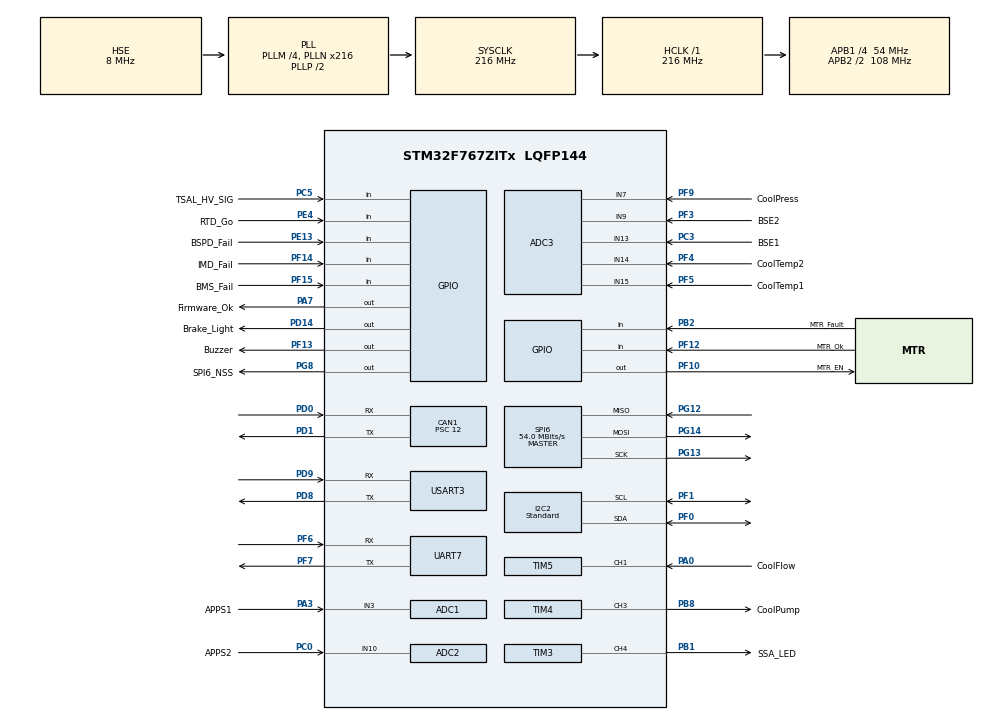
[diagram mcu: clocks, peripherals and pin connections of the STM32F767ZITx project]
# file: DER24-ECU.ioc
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ADC1.Channel-0\#ChannelRegularConversion=ADC_CHANNEL_3
ADC1.ClockPrescaler=ADC_CLOCK_SYNC_PCLK_DIV6
ADC1.NbrOfConversionFlag=1
ADC1.Rank-0\#ChannelRegularConversion=1
ADC1.SamplingTime-0\#ChannelRegularConversion=ADC_SAMPLETIME_3CYCLES
ADC1.master=1
ADC2.Channel-1\#ChannelRegularConversion=ADC_CHANNEL_10
ADC2.ClockPrescaler=ADC_CLOCK_SYNC_PCLK_DIV6
ADC2.NbrOfConversionFlag=1
ADC2.Rank-1\#ChannelRegularConversion=1
ADC2.SamplingTime-1\#ChannelRegularConversion=ADC_SAMPLETIME_3CYCLES
ADC3.Channel-0\#ChannelRegularConversion=ADC_CHANNEL_13
ADC3.ClockPrescaler=ADC_CLOCK_SYNC_PCLK_DIV6
ADC3.NbrOfConversionFlag=1
ADC3.Rank-0\#ChannelRegularConversion=1
ADC3.SamplingTime-0\#ChannelRegularConversion=ADC_SAMPLETIME_3CYCLES
CAN1.ABOM=ENABLE
CAN1.AWUM=ENABLE
CAN1.BS1=CAN_BS1_15TQ
CAN1.BS2=CAN_BS2_2TQ
CAN1.CalculateBaudRate=250000
CAN1.CalculateTimeBit=4000
CAN1.CalculateTimeQuantum=222.22222222222223
CAN1.NART=DISABLE
CAN1.Prescaler=12
FREERTOS.Tasks01=dev_task,24,128,dev_task_fn,As weak,NULL,Dynamic,NULL,NULL
FREERTOS.configENABLE_FPU=1
FREERTOS.configUSE_NEWLIB_REENTRANT=1
I2C2.Analog_Filter=I2C_ANALOGFILTER_DISABLE
I2C2.I2C_Fall_Time=0
I2C2.I2C_Rise_Time=0
I2C2.I2C_Speed_Mode=I2C_Standard
I2C2.Timing=0x00303D5D
Mcu.Family=STM32F7
Mcu.Name=STM32F767ZITx
Mcu.Package=LQFP144
NVIC.CAN1_RX0_IRQn=true\:5\:0\:false\:false\:true\:true\:true\:true\:true
NVIC.PriorityGroup=NVIC_PRIORITYGROUP_4
NVIC.TIM5_IRQn=true\:5\:0\:false\:false\:true\:true\:true\:true\:true
NVIC.TIM7_IRQn=true\:15\:0\:false\:false\:true\:false\:false\:true\:true
NVIC.TimeBase=TIM7_IRQn
NVIC.TimeBaseIP=TIM7
NVIC.UART7_IRQn=true\:5\:0\:false\:false\:true\:true\:true\:true\:true
NVIC.USART3_IRQn=true\:15\:0\:true\:false\:true\:true\:true\:true\:true
PA0/WKUP.GPIO_Label=CoolFlow
PA0/WKUP.Signal=S_TIM5_CH1
PA13.GPIO_Label=TMS
PA13.Mode=Serial_Wire
PA13.Signal=SYS_JTMS-SWDIO
PA14.GPIO_Label=TCK
PA14.Mode=Serial_Wire
PA14.Signal=SYS_JTCK-SWCLK
PA3.GPIO_Label=APPS1
PA3.Signal=ADCx_IN3
PA7.GPIO_Label=Firmware_Ok
PA7.Signal=GPIO_Output
PB1.GPIO_Label=SSA_LED
PB1.Signal=S_TIM3_CH4
PB2.GPIO_Label=MTR_Fault
PB2.Signal=GPIO_Input
PB3.GPIO_Label=SWO
PB3.Signal=SYS_JTDO-SWO
PB8.GPIO_Label=CoolPump
PB8.Signal=S_TIM4_CH3
PC0.GPIO_Label=APPS2
PC0.Signal=ADCx_IN10
PC14/OSC32_IN.Mode=LSE-External-Oscillator
PC14/OSC32_IN.Signal=RCC_OSC32_IN
PC15/OSC32_OUT.Mode=LSE-External-Oscillator
PC15/OSC32_OUT.Signal=RCC_OSC32_OUT
PC3.GPIO_Label=BSE1
PC3.Signal=ADCx_IN13
PC5.GPIO_Label=TSAL_HV_SIG
PC5.Signal=GPIO_Input
PD0.Mode=CAN_Activate
PD0.Signal=CAN1_RX
PD1.Mode=CAN_Activate
PD1.Signal=CAN1_TX
PD14.GPIO_Label=Brake_Light
PD14.Signal=GPIO_Output
PD8.Mode=Asynchronous
PD8.Signal=USART3_TX
PD9.Mode=Asynchronous
PD9.Signal=USART3_RX
PE13.GPIO_Label=BSPD_Fail
PE13.Signal=GPIO_Input
PE4.GPIO_Label=RTD_Go
PE4.GPIO_PuPd=GPIO_PULLDOWN
PE4.Signal=GPIO_Input
PF0.Mode=I2C
PF0.Signal=I2C2_SDA
PF1.Mode=I2C
PF1.Signal=I2C2_SCL
PF10.GPIO_Label=MTR_EN
PF10.Signal=GPIO_Output
PF12.GPIO_Label=MTR_Ok
PF12.Signal=GPIO_Input
PF13.GPIO_Label=Buzzer
PF13.Signal=GPIO_Output
PF14.GPIO_Label=IMD_Fail
PF14.Signal=GPIO_Input
PF15.GPIO_Label=BMS_Fail
PF15.Signal=GPIO_Input
PF3.GPIO_Label=BSE2
PF3.Mode=IN9
PF3.Signal=ADC3_IN9
PF4.GPIO_Label=CoolTemp2
PF4.Mode=IN14
PF4.Signal=ADC3_IN14
PF5.GPIO_Label=CoolTemp1
PF5.Mode=IN15
PF5.Signal=ADC3_IN15
PF6.Mode=Asynchronous
PF6.Signal=UART7_RX
PF7.Mode=Asynchronous
PF7.Signal=UART7_TX
PF9.GPIO_Label=CoolPress
PF9.Mode=IN7
PF9.Signal=ADC3_IN7
PG12.Mode=Full_Duplex_Master
PG12.Signal=SPI6_MISO
PG13.Mode=Full_Duplex_Master
PG13.Signal=SPI6_SCK
PG14.Mode=Full_Duplex_Master
PG14.Signal=SPI6_MOSI
PG8.GPIO_Label=SPI6_NSS
PG8.Signal=GPIO_Output
PH0/OSC_IN.Mode=HSE-External-Oscillator
PH0/OSC_IN.Signal=RCC_OSC_IN
PH1/OSC_OUT.Mode=HSE-External-Oscillator
PH1/OSC_OUT.Signal=RCC_OSC_OUT
ProjectManager.HeapSize=0x200
ProjectManager.StackSize=0x400
ProjectManager.TargetToolchain=STM32CubeIDE
RCC.AHBFreq_Value=216000000
RCC.APB1CLKDivider=RCC_HCLK_DIV4
RCC.APB1Freq_Value=54000000
RCC.APB1TimFreq_Value=108000000
RCC.APB2CLKDivider=RCC_HCLK_DIV2
RCC.APB2Freq_Value=108000000
RCC.APB2TimFreq_Value=216000000
RCC.CortexFreq_Value=216000000
RCC.HCLKFreq_Value=216000000
RCC.HSE_VALUE=8000000
RCC.HSI_VALUE=16000000
RCC.I2C2CLockSelection=RCC_I2C2CLKSOURCE_HSI
RCC.LSE_Drive_Capability=RCC_LSEDRIVE_LOW
RCC.PLLM=4
RCC.PLLN=216
RCC.PLLSourceVirtual=RCC_PLLSOURCE_HSE
RCC.RTCClockSelection=RCC_RTCCLKSOURCE_LSE
RCC.SYSCLKFreq_VALUE=216000000
RCC.SYSCLKSource=RCC_SYSCLKSOURCE_PLLCLK
RCC.USBFreq_Value=216000000
RCC.VCOOutputFreq_Value=432000000
RTC.StoreOperation=RTC_STOREOPERATION_SET
SH.ADCx_IN10.0=ADC2_IN10,IN10
SH.ADCx_IN13.0=ADC3_IN13,IN13
SH.ADCx_IN3.0=ADC1_IN3,IN3
SH.S_TIM3_CH4.0=TIM3_CH4,PWM Generation4 CH4
SH.S_TIM4_CH3.0=TIM4_CH3,PWM Generation3 CH3
SH.S_TIM5_CH1.0=TIM5_CH1,PWM_Input_1
SPI6.BaudRatePrescaler=SPI_BAUDRATEPRESCALER_2
SPI6.CalculateBaudRate=54.0 MBits/s
SPI6.Direction=SPI_DIRECTION_2LINES
SPI6.Mode=SPI_MODE_MASTER
SPI6.VirtualType=VM_MASTER
TIM3.AutoReloadPreload=TIM_AUTORELOAD_PRELOAD_ENABLE
TIM3.Channel-PWM\ Generation4\ CH4=TIM_CHANNEL_4
TIM4.AutoReloadPreload=TIM_AUTORELOAD_PRELOAD_ENABLE
TIM4.Channel-PWM\ Generation3\ CH3=TIM_CHANNEL_3
TIM5.AutoReloadPreload=TIM_AUTORELOAD_PRELOAD_DISABLE
USART3.SwapParam=ADVFEATURE_SWAP_DISABLE
USART3.VirtualMode-Asynchronous=VM_ASYNC
VP_FREERTOS_VS_CMSIS_V2.Mode=CMSIS_V2
VP_RTC_VS_RTC_Activate.Mode=RTC_Enabled
VP_RTC_VS_RTC_Calendar.Mode=RTC_Calendar
VP_SYS_VS_tim7.Mode=TIM7
VP_TIM3_VS_ClockSourceINT.Mode=Internal
VP_TIM4_VS_ClockSourceINT.Mode=Internal
VP_TIM5_VS_ClockSourceINT.Mode=Internal
board=custom

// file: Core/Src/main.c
/* USER CODE BEGIN Header */
/**
  ******************************************************************************
  * @file           : main.c
  * @brief          : Main program body
  ******************************************************************************
  * @attention
  *
  * Copyright (c) 2024 STMicroelectronics.
  * All rights reserved.
  *
  * This software is licensed under terms that can be found in the LICENSE file
  * in the root directory of this software component.
  * If no LICENSE file comes with this software, it is provided AS-IS.
  *
  ******************************************************************************
  */
/* USER CODE END Header */
#include "main.h"
#include "cmsis_os.h"

/* USER CODE BEGIN Includes */
#include "app.h"
/* USER CODE END Includes */

ADC_HandleTypeDef hadc1;
ADC_HandleTypeDef hadc2;
ADC_HandleTypeDef hadc3;

CAN_HandleTypeDef hcan1;

I2C_HandleTypeDef hi2c2;

RTC_HandleTypeDef hrtc;

SPI_HandleTypeDef hspi6;

TIM_HandleTypeDef htim3;
TIM_HandleTypeDef htim4;
TIM_HandleTypeDef htim5;

UART_HandleTypeDef huart7;
UART_HandleTypeDef huart3;

/* Definitions for dev_task */
osThreadId_t dev_taskHandle;
const osThreadAttr_t dev_task_attributes = {
  .name = "dev_task",
  .stack_size = 128 * 4,
  .priority = (osPriority_t) osPriorityNormal,
};

void SystemClock_Config(void);
void dev_task_fn(void *argument);

int main(void)
{

  /* MCU Configuration--------------------------------------------------------*/

  /* Reset of all peripherals, Initializes the Flash interface and the Systick. */
  HAL_Init();

  /* Configure the system clock */
  SystemClock_Config();

  /* Initialize all configured peripherals */
  MX_GPIO_Init();
  MX_CAN1_Init();
  MX_ADC1_Init();
  MX_ADC3_Init();
  MX_SPI6_Init();
  MX_TIM5_Init();
  MX_USART3_UART_Init();
  MX_UART7_Init();
  MX_RTC_Init();
  MX_ADC2_Init();
  MX_I2C2_Init();
  MX_TIM3_Init();
  MX_TIM4_Init();

  /* Init scheduler */
  osKernelInitialize();

  /* USER CODE BEGIN RTOS_QUEUES */
  /* add queues, ... */
#if 0
  /* USER CODE END RTOS_QUEUES */

  /* Create the thread(s) */
  /* creation of dev_task */
  dev_taskHandle = osThreadNew(dev_task_fn, NULL, &dev_task_attributes);

  /* USER CODE BEGIN RTOS_THREADS */
  /* add threads, ... */
#endif
  app_create();
  /* USER CODE END RTOS_THREADS */

  /* Start scheduler */
  osKernelStart();

  /* We should never get here as control is now taken by the scheduler */

  /* Infinite loop */
  while (1)
  {

  }
}

void SystemClock_Config(void)
{
  RCC_OscInitTypeDef RCC_OscInitStruct = {0};
  RCC_ClkInitTypeDef RCC_ClkInitStruct = {0};

  /** Configure LSE Drive Capability
  */
  HAL_PWR_EnableBkUpAccess();
  __HAL_RCC_LSEDRIVE_CONFIG(RCC_LSEDRIVE_LOW);

  /** Configure the main internal regulator output voltage
  */
  __HAL_RCC_PWR_CLK_ENABLE();
  __HAL_PWR_VOLTAGESCALING_CONFIG(PWR_REGULATOR_VOLTAGE_SCALE1);

  /** Initializes the RCC Oscillators according to the specified parameters
  * in the RCC_OscInitTypeDef structure.
  */
  RCC_OscInitStruct.OscillatorType = RCC_OSCILLATORTYPE_HSI|RCC_OSCILLATORTYPE_HSE
                              |RCC_OSCILLATORTYPE_LSE;
  RCC_OscInitStruct.HSEState = RCC_HSE_ON;
  RCC_OscInitStruct.LSEState = RCC_LSE_ON;
  RCC_OscInitStruct.HSIState = RCC_HSI_ON;
  RCC_OscInitStruct.HSICalibrationValue = RCC_HSICALIBRATION_DEFAULT;
  RCC_OscInitStruct.PLL.PLLState = RCC_PLL_ON;
  RCC_OscInitStruct.PLL.PLLSource = RCC_PLLSOURCE_HSE;
  RCC_OscInitStruct.PLL.PLLM = 4;
  RCC_OscInitStruct.PLL.PLLN = 216;
  RCC_OscInitStruct.PLL.PLLP = RCC_PLLP_DIV2;
  RCC_OscInitStruct.PLL.PLLQ = 2;
  RCC_OscInitStruct.PLL.PLLR = 2;
  if (HAL_RCC_OscConfig(&RCC_OscInitStruct) != HAL_OK)
  {
    Error_Handler();
  }

  /** Activate the Over-Drive mode
  */
  if (HAL_PWREx_EnableOverDrive() != HAL_OK)
  {
    Error_Handler();
  }

  /** Initializes the CPU, AHB and APB buses clocks
  */
  RCC_ClkInitStruct.ClockType = RCC_CLOCKTYPE_HCLK|RCC_CLOCKTYPE_SYSCLK
                              |RCC_CLOCKTYPE_PCLK1|RCC_CLOCKTYPE_PCLK2;
  RCC_ClkInitStruct.SYSCLKSource = RCC_SYSCLKSOURCE_PLLCLK;
  RCC_ClkInitStruct.AHBCLKDivider = RCC_SYSCLK_DIV1;
  RCC_ClkInitStruct.APB1CLKDivider = RCC_HCLK_DIV4;
  RCC_ClkInitStruct.APB2CLKDivider = RCC_HCLK_DIV2;

  if (HAL_RCC_ClockConfig(&RCC_ClkInitStruct, FLASH_LATENCY_7) != HAL_OK)
  {
    Error_Handler();
  }
}

void MX_ADC1_Init(void)
{

  ADC_ChannelConfTypeDef sConfig = {0};

  /** Configure the global features of the ADC (Clock, Resolution, Data Alignment and number of conversion)
  */
  hadc1.Instance = ADC1;
  hadc1.Init.ClockPrescaler = ADC_CLOCK_SYNC_PCLK_DIV6;
  hadc1.Init.Resolution = ADC_RESOLUTION_12B;
  hadc1.Init.ScanConvMode = ADC_SCAN_DISABLE;
  hadc1.Init.ContinuousConvMode = DISABLE;
  hadc1.Init.DiscontinuousConvMode = DISABLE;
  hadc1.Init.ExternalTrigConvEdge = ADC_EXTERNALTRIGCONVEDGE_NONE;
  hadc1.Init.ExternalTrigConv = ADC_SOFTWARE_START;
  hadc1.Init.DataAlign = ADC_DATAALIGN_RIGHT;
  hadc1.Init.NbrOfConversion = 1;
  hadc1.Init.DMAContinuousRequests = DISABLE;
  hadc1.Init.EOCSelection = ADC_EOC_SINGLE_CONV;
  if (HAL_ADC_Init(&hadc1) != HAL_OK)
  {
    Error_Handler();
  }

  /** Configure for the selected ADC regular channel its corresponding rank in the sequencer and its sample time.
  */
  sConfig.Channel = ADC_CHANNEL_3;
  sConfig.Rank = ADC_REGULAR_RANK_1;
  sConfig.SamplingTime = ADC_SAMPLETIME_3CYCLES;
  if (HAL_ADC_ConfigChannel(&hadc1, &sConfig) != HAL_OK)
  {
    Error_Handler();
  }

}

void MX_ADC2_Init(void)
{

  ADC_ChannelConfTypeDef sConfig = {0};

  /** Configure the global features of the ADC (Clock, Resolution, Data Alignment and number of conversion)
  */
  hadc2.Instance = ADC2;
  hadc2.Init.ClockPrescaler = ADC_CLOCK_SYNC_PCLK_DIV6;
  hadc2.Init.Resolution = ADC_RESOLUTION_12B;
  hadc2.Init.ScanConvMode = ADC_SCAN_DISABLE;
  hadc2.Init.ContinuousConvMode = DISABLE;
  hadc2.Init.DiscontinuousConvMode = DISABLE;
  hadc2.Init.ExternalTrigConvEdge = ADC_EXTERNALTRIGCONVEDGE_NONE;
  hadc2.Init.ExternalTrigConv = ADC_SOFTWARE_START;
  hadc2.Init.DataAlign = ADC_DATAALIGN_RIGHT;
  hadc2.Init.NbrOfConversion = 1;
  hadc2.Init.DMAContinuousRequests = DISABLE;
  hadc2.Init.EOCSelection = ADC_EOC_SINGLE_CONV;
  if (HAL_ADC_Init(&hadc2) != HAL_OK)
  {
    Error_Handler();
  }

  /** Configure for the selected ADC regular channel its corresponding rank in the sequencer and its sample time.
  */
  sConfig.Channel = ADC_CHANNEL_10;
  sConfig.Rank = ADC_REGULAR_RANK_1;
  sConfig.SamplingTime = ADC_SAMPLETIME_3CYCLES;
  if (HAL_ADC_ConfigChannel(&hadc2, &sConfig) != HAL_OK)
  {
    Error_Handler();
  }

}

void MX_ADC3_Init(void)
{

  ADC_ChannelConfTypeDef sConfig = {0};

  /** Configure the global features of the ADC (Clock, Resolution, Data Alignment and number of conversion)
  */
  hadc3.Instance = ADC3;
  hadc3.Init.ClockPrescaler = ADC_CLOCK_SYNC_PCLK_DIV6;
  hadc3.Init.Resolution = ADC_RESOLUTION_12B;
  hadc3.Init.ScanConvMode = ADC_SCAN_DISABLE;
  hadc3.Init.ContinuousConvMode = DISABLE;
  hadc3.Init.DiscontinuousConvMode = DISABLE;
  hadc3.Init.ExternalTrigConvEdge = ADC_EXTERNALTRIGCONVEDGE_NONE;
  hadc3.Init.ExternalTrigConv = ADC_SOFTWARE_START;
  hadc3.Init.DataAlign = ADC_DATAALIGN_RIGHT;
  hadc3.Init.NbrOfConversion = 1;
  hadc3.Init.DMAContinuousRequests = DISABLE;
  hadc3.Init.EOCSelection = ADC_EOC_SINGLE_CONV;
  if (HAL_ADC_Init(&hadc3) != HAL_OK)
  {
    Error_Handler();
  }

  /** Configure for the selected ADC regular channel its corresponding rank in the sequencer and its sample time.
  */
  sConfig.Channel = ADC_CHANNEL_13;
  sConfig.Rank = ADC_REGULAR_RANK_1;
  sConfig.SamplingTime = ADC_SAMPLETIME_3CYCLES;
  if (HAL_ADC_ConfigChannel(&hadc3, &sConfig) != HAL_OK)
  {
    Error_Handler();
  }

}

void MX_CAN1_Init(void)
{

  /* USER CODE BEGIN CAN1_Init 0 */
  CAN_FilterTypeDef canfil;
  /* USER CODE END CAN1_Init 0 */

  hcan1.Instance = CAN1;
  hcan1.Init.Prescaler = 12;
  hcan1.Init.Mode = CAN_MODE_NORMAL;
  hcan1.Init.SyncJumpWidth = CAN_SJW_1TQ;
  hcan1.Init.TimeSeg1 = CAN_BS1_15TQ;
  hcan1.Init.TimeSeg2 = CAN_BS2_2TQ;
  hcan1.Init.TimeTriggeredMode = DISABLE;
  hcan1.Init.AutoBusOff = ENABLE;
  hcan1.Init.AutoWakeUp = ENABLE;
  hcan1.Init.AutoRetransmission = DISABLE;
  hcan1.Init.ReceiveFifoLocked = DISABLE;
  hcan1.Init.TransmitFifoPriority = DISABLE;
  if (HAL_CAN_Init(&hcan1) != HAL_OK)
  {
    Error_Handler();
  }
  /* USER CODE BEGIN CAN1_Init 2 */
  canfil.FilterBank = 0;
  canfil.FilterMode = CAN_FILTERMODE_IDMASK;
  canfil.FilterFIFOAssignment = CAN_RX_FIFO0;
  canfil.FilterIdHigh = 0;
  canfil.FilterIdLow = 0;
  canfil.FilterMaskIdHigh = 0;
  canfil.FilterMaskIdLow = 0;
  canfil.FilterScale = CAN_FILTERSCALE_32BIT;
  canfil.FilterActivation = ENABLE;
  canfil.SlaveStartFilterBank = 14;

  HAL_CAN_ConfigFilter(&hcan1, &canfil); // Initialize CAN Filter

  HAL_CAN_ActivateNotification(&hcan1, CAN_IT_RX_FIFO0_MSG_PENDING);
  /* USER CODE END CAN1_Init 2 */

}

void MX_I2C2_Init(void)
{

  hi2c2.Instance = I2C2;
  hi2c2.Init.Timing = 0x00303D5D;
  hi2c2.Init.OwnAddress1 = 0;
  hi2c2.Init.AddressingMode = I2C_ADDRESSINGMODE_7BIT;
  hi2c2.Init.DualAddressMode = I2C_DUALADDRESS_DISABLE;
  hi2c2.Init.OwnAddress2 = 0;
  hi2c2.Init.OwnAddress2Masks = I2C_OA2_NOMASK;
  hi2c2.Init.GeneralCallMode = I2C_GENERALCALL_DISABLE;
  hi2c2.Init.NoStretchMode = I2C_NOSTRETCH_DISABLE;
  if (HAL_I2C_Init(&hi2c2) != HAL_OK)
  {
    Error_Handler();
  }

  /** Configure Analogue filter
  */
  if (HAL_I2CEx_ConfigAnalogFilter(&hi2c2, I2C_ANALOGFILTER_DISABLE) != HAL_OK)
  {
    Error_Handler();
  }

  /** Configure Digital filter
  */
  if (HAL_I2CEx_ConfigDigitalFilter(&hi2c2, 0) != HAL_OK)
  {
    Error_Handler();
  }

}

void MX_RTC_Init(void)
{

  RTC_TimeTypeDef sTime = {0};
  RTC_DateTypeDef sDate = {0};

  /** Initialize RTC Only
  */
  hrtc.Instance = RTC;
  hrtc.Init.HourFormat = RTC_HOURFORMAT_24;
  hrtc.Init.AsynchPrediv = 127;
  hrtc.Init.SynchPrediv = 255;
  hrtc.Init.OutPut = RTC_OUTPUT_DISABLE;
  hrtc.Init.OutPutPolarity = RTC_OUTPUT_POLARITY_HIGH;
  hrtc.Init.OutPutType = RTC_OUTPUT_TYPE_OPENDRAIN;
  if (HAL_RTC_Init(&hrtc) != HAL_OK)
  {
    Error_Handler();
  }

  /* USER CODE BEGIN Check_RTC_BKUP */
  HAL_RTCEx_EnableBypassShadow(&hrtc);
  HAL_RTC_WaitForSynchro(&hrtc);
  uint32_t bk = HAL_RTCEx_BKUPRead(&hrtc, RTC_BKP_DR1);
  if(bk == 0x32F2)
  {
	  HAL_RTC_GetTime(&hrtc, &sTime, RTC_FORMAT_BIN);
	  HAL_RTC_GetDate(&hrtc, &sDate, RTC_FORMAT_BIN);
	  return;
  }
  /* USER CODE END Check_RTC_BKUP */

  /** Initialize RTC and set the Time and Date
  */
  sTime.Hours = 0x0;
  sTime.Minutes = 0x0;
  sTime.Seconds = 0x0;
  sTime.DayLightSaving = RTC_DAYLIGHTSAVING_NONE;
  sTime.StoreOperation = RTC_STOREOPERATION_SET;
  if (HAL_RTC_SetTime(&hrtc, &sTime, RTC_FORMAT_BCD) != HAL_OK)
  {
    Error_Handler();
  }
  sDate.WeekDay = RTC_WEEKDAY_MONDAY;
  sDate.Month = RTC_MONTH_JANUARY;
  sDate.Date = 0x1;
  sDate.Year = 0x0;

  if (HAL_RTC_SetDate(&hrtc, &sDate, RTC_FORMAT_BCD) != HAL_OK)
  {
    Error_Handler();
  }
  /* USER CODE BEGIN RTC_Init 2 */
  HAL_PWR_EnableBkUpAccess();
  HAL_RTCEx_BKUPWrite(&hrtc, RTC_BKP_DR1, 0x32F2);
  HAL_PWR_DisableBkUpAccess();
  /* USER CODE END RTC_Init 2 */

}

void MX_SPI6_Init(void)
{

  /* SPI6 parameter configuration*/
  hspi6.Instance = SPI6;
  hspi6.Init.Mode = SPI_MODE_MASTER;
  hspi6.Init.Direction = SPI_DIRECTION_2LINES;
  hspi6.Init.DataSize = SPI_DATASIZE_4BIT;
  hspi6.Init.CLKPolarity = SPI_POLARITY_LOW;
  hspi6.Init.CLKPhase = SPI_PHASE_1EDGE;
  hspi6.Init.NSS = SPI_NSS_SOFT;
  hspi6.Init.BaudRatePrescaler = SPI_BAUDRATEPRESCALER_2;
  hspi6.Init.FirstBit = SPI_FIRSTBIT_MSB;
  hspi6.Init.TIMode = SPI_TIMODE_DISABLE;
  hspi6.Init.CRCCalculation = SPI_CRCCALCULATION_DISABLE;
  hspi6.Init.CRCPolynomial = 7;
  hspi6.Init.CRCLength = SPI_CRC_LENGTH_DATASIZE;
  hspi6.Init.NSSPMode = SPI_NSS_PULSE_ENABLE;
  if (HAL_SPI_Init(&hspi6) != HAL_OK)
  {
    Error_Handler();
  }

}

void MX_TIM3_Init(void)
{

  TIM_ClockConfigTypeDef sClockSourceConfig = {0};
  TIM_MasterConfigTypeDef sMasterConfig = {0};
  TIM_OC_InitTypeDef sConfigOC = {0};

  htim3.Instance = TIM3;
  htim3.Init.Prescaler = 0;
  htim3.Init.CounterMode = TIM_COUNTERMODE_UP;
  htim3.Init.Period = 65535;
  htim3.Init.ClockDivision = TIM_CLOCKDIVISION_DIV1;
  htim3.Init.AutoReloadPreload = TIM_AUTORELOAD_PRELOAD_ENABLE;
  if (HAL_TIM_Base_Init(&htim3) != HAL_OK)
  {
    Error_Handler();
  }
  sClockSourceConfig.ClockSource = TIM_CLOCKSOURCE_INTERNAL;
  if (HAL_TIM_ConfigClockSource(&htim3, &sClockSourceConfig) != HAL_OK)
  {
    Error_Handler();
  }
  if (HAL_TIM_PWM_Init(&htim3) != HAL_OK)
  {
    Error_Handler();
  }
  sMasterConfig.MasterOutputTrigger = TIM_TRGO_RESET;
  sMasterConfig.MasterSlaveMode = TIM_MASTERSLAVEMODE_DISABLE;
  if (HAL_TIMEx_MasterConfigSynchronization(&htim3, &sMasterConfig) != HAL_OK)
  {
    Error_Handler();
  }
  sConfigOC.OCMode = TIM_OCMODE_PWM1;
  sConfigOC.Pulse = 0;
  sConfigOC.OCPolarity = TIM_OCPOLARITY_HIGH;
  sConfigOC.OCFastMode = TIM_OCFAST_DISABLE;
  if (HAL_TIM_PWM_ConfigChannel(&htim3, &sConfigOC, TIM_CHANNEL_4) != HAL_OK)
  {
    Error_Handler();
  }
  HAL_TIM_MspPostInit(&htim3);

}

void MX_TIM4_Init(void)
{

  TIM_ClockConfigTypeDef sClockSourceConfig = {0};
  TIM_MasterConfigTypeDef sMasterConfig = {0};
  TIM_OC_InitTypeDef sConfigOC = {0};

  htim4.Instance = TIM4;
  htim4.Init.Prescaler = 0;
  htim4.Init.CounterMode = TIM_COUNTERMODE_UP;
  htim4.Init.Period = 65535;
  htim4.Init.ClockDivision = TIM_CLOCKDIVISION_DIV1;
  htim4.Init.AutoReloadPreload = TIM_AUTORELOAD_PRELOAD_ENABLE;
  if (HAL_TIM_Base_Init(&htim4) != HAL_OK)
  {
    Error_Handler();
  }
  sClockSourceConfig.ClockSource = TIM_CLOCKSOURCE_INTERNAL;
  if (HAL_TIM_ConfigClockSource(&htim4, &sClockSourceConfig) != HAL_OK)
  {
    Error_Handler();
  }
  if (HAL_TIM_PWM_Init(&htim4) != HAL_OK)
  {
    Error_Handler();
  }
  sMasterConfig.MasterOutputTrigger = TIM_TRGO_RESET;
  sMasterConfig.MasterSlaveMode = TIM_MASTERSLAVEMODE_DISABLE;
  if (HAL_TIMEx_MasterConfigSynchronization(&htim4, &sMasterConfig) != HAL_OK)
  {
    Error_Handler();
  }
  sConfigOC.OCMode = TIM_OCMODE_PWM1;
  sConfigOC.Pulse = 0;
  sConfigOC.OCPolarity = TIM_OCPOLARITY_HIGH;
  sConfigOC.OCFastMode = TIM_OCFAST_DISABLE;
  if (HAL_TIM_PWM_ConfigChannel(&htim4, &sConfigOC, TIM_CHANNEL_3) != HAL_OK)
  {
    Error_Handler();
  }
  HAL_TIM_MspPostInit(&htim4);

}

void MX_TIM5_Init(void)
{

  TIM_ClockConfigTypeDef sClockSourceConfig = {0};
  TIM_SlaveConfigTypeDef sSlaveConfig = {0};
  TIM_IC_InitTypeDef sConfigIC = {0};
  TIM_MasterConfigTypeDef sMasterConfig = {0};

  htim5.Instance = TIM5;
  htim5.Init.Prescaler = 0;
  htim5.Init.CounterMode = TIM_COUNTERMODE_UP;
  htim5.Init.Period = 4294967295;
  htim5.Init.ClockDivision = TIM_CLOCKDIVISION_DIV1;
  htim5.Init.AutoReloadPreload = TIM_AUTORELOAD_PRELOAD_DISABLE;
  if (HAL_TIM_Base_Init(&htim5) != HAL_OK)
  {
    Error_Handler();
  }
  sClockSourceConfig.ClockSource = TIM_CLOCKSOURCE_INTERNAL;
  if (HAL_TIM_ConfigClockSource(&htim5, &sClockSourceConfig) != HAL_OK)
  {
    Error_Handler();
  }
  if (HAL_TIM_IC_Init(&htim5) != HAL_OK)
  {
    Error_Handler();
  }
  sSlaveConfig.SlaveMode = TIM_SLAVEMODE_RESET;
  sSlaveConfig.InputTrigger = TIM_TS_TI1FP1;
  sSlaveConfig.TriggerPolarity = TIM_INPUTCHANNELPOLARITY_RISING;
  sSlaveConfig.TriggerPrescaler = TIM_ICPSC_DIV1;
  sSlaveConfig.TriggerFilter = 0;
  if (HAL_TIM_SlaveConfigSynchro(&htim5, &sSlaveConfig) != HAL_OK)
  {
    Error_Handler();
  }
  sConfigIC.ICPolarity = TIM_INPUTCHANNELPOLARITY_RISING;
  sConfigIC.ICSelection = TIM_ICSELECTION_DIRECTTI;
  sConfigIC.ICPrescaler = TIM_ICPSC_DIV1;
  sConfigIC.ICFilter = 0;
  if (HAL_TIM_IC_ConfigChannel(&htim5, &sConfigIC, TIM_CHANNEL_1) != HAL_OK)
  {
    Error_Handler();
  }
  sConfigIC.ICPolarity = TIM_INPUTCHANNELPOLARITY_FALLING;
  sConfigIC.ICSelection = TIM_ICSELECTION_INDIRECTTI;
  if (HAL_TIM_IC_ConfigChannel(&htim5, &sConfigIC, TIM_CHANNEL_2) != HAL_OK)
  {
    Error_Handler();
  }
  sMasterConfig.MasterOutputTrigger = TIM_TRGO_RESET;
  sMasterConfig.MasterSlaveMode = TIM_MASTERSLAVEMODE_DISABLE;
  if (HAL_TIMEx_MasterConfigSynchronization(&htim5, &sMasterConfig) != HAL_OK)
  {
    Error_Handler();
  }

}

void MX_UART7_Init(void)
{

  huart7.Instance = UART7;
  huart7.Init.BaudRate = 115200;
  huart7.Init.WordLength = UART_WORDLENGTH_8B;
  huart7.Init.StopBits = UART_STOPBITS_1;
  huart7.Init.Parity = UART_PARITY_NONE;
  huart7.Init.Mode = UART_MODE_TX_RX;
  huart7.Init.HwFlowCtl = UART_HWCONTROL_NONE;
  huart7.Init.OverSampling = UART_OVERSAMPLING_16;
  huart7.Init.OneBitSampling = UART_ONE_BIT_SAMPLE_DISABLE;
  huart7.AdvancedInit.AdvFeatureInit = UART_ADVFEATURE_NO_INIT;
  if (HAL_UART_Init(&huart7) != HAL_OK)
  {
    Error_Handler();
  }

}

void MX_USART3_UART_Init(void)
{

  huart3.Instance = USART3;
  huart3.Init.BaudRate = 115200;
  huart3.Init.WordLength = UART_WORDLENGTH_8B;
  huart3.Init.StopBits = UART_STOPBITS_1;
  huart3.Init.Parity = UART_PARITY_NONE;
  huart3.Init.Mode = UART_MODE_TX_RX;
  huart3.Init.HwFlowCtl = UART_HWCONTROL_NONE;
  huart3.Init.OverSampling = UART_OVERSAMPLING_16;
  huart3.Init.OneBitSampling = UART_ONE_BIT_SAMPLE_DISABLE;
  huart3.AdvancedInit.AdvFeatureInit = UART_ADVFEATURE_NO_INIT;
  if (HAL_UART_Init(&huart3) != HAL_OK)
  {
    Error_Handler();
  }

}

void MX_GPIO_Init(void)
{
  GPIO_InitTypeDef GPIO_InitStruct = {0};

  /* GPIO Ports Clock Enable */
  __HAL_RCC_GPIOE_CLK_ENABLE();
  __HAL_RCC_GPIOC_CLK_ENABLE();
  __HAL_RCC_GPIOF_CLK_ENABLE();
  __HAL_RCC_GPIOH_CLK_ENABLE();
  __HAL_RCC_GPIOA_CLK_ENABLE();
  __HAL_RCC_GPIOB_CLK_ENABLE();
  __HAL_RCC_GPIOG_CLK_ENABLE();
  __HAL_RCC_GPIOD_CLK_ENABLE();

  /*Configure GPIO pin Output Level */
  HAL_GPIO_WritePin(GPIOF, MTR_EN_Pin|Buzzer_Pin, GPIO_PIN_RESET);

  /*Configure GPIO pin Output Level */
  HAL_GPIO_WritePin(Firmware_Ok_GPIO_Port, Firmware_Ok_Pin, GPIO_PIN_RESET);

  /*Configure GPIO pin Output Level */
  HAL_GPIO_WritePin(Brake_Light_GPIO_Port, Brake_Light_Pin, GPIO_PIN_RESET);

  /*Configure GPIO pin Output Level */
  HAL_GPIO_WritePin(SPI6_NSS_GPIO_Port, SPI6_NSS_Pin, GPIO_PIN_RESET);

  /*Configure GPIO pins : PE2 PE3 PE5 PE6
                           PE7 PE8 PE9 PE10
                           PE11 PE12 PE14 PE15
                           PE0 PE1 */
  GPIO_InitStruct.Pin = GPIO_PIN_2|GPIO_PIN_3|GPIO_PIN_5|GPIO_PIN_6
                          |GPIO_PIN_7|GPIO_PIN_8|GPIO_PIN_9|GPIO_PIN_10
                          |GPIO_PIN_11|GPIO_PIN_12|GPIO_PIN_14|GPIO_PIN_15
                          |GPIO_PIN_0|GPIO_PIN_1;
  GPIO_InitStruct.Mode = GPIO_MODE_ANALOG;
  GPIO_InitStruct.Pull = GPIO_NOPULL;
  HAL_GPIO_Init(GPIOE, &GPIO_InitStruct);

  /*Configure GPIO pin : RTD_Go_Pin */
  GPIO_InitStruct.Pin = RTD_Go_Pin;
  GPIO_InitStruct.Mode = GPIO_MODE_INPUT;
  GPIO_InitStruct.Pull = GPIO_PULLDOWN;
  HAL_GPIO_Init(RTD_Go_GPIO_Port, &GPIO_InitStruct);

  /*Configure GPIO pins : PC13 PC1 PC2 PC4
                           PC6 PC7 PC8 PC9
                           PC10 PC11 PC12 */
  GPIO_InitStruct.Pin = GPIO_PIN_13|GPIO_PIN_1|GPIO_PIN_2|GPIO_PIN_4
                          |GPIO_PIN_6|GPIO_PIN_7|GPIO_PIN_8|GPIO_PIN_9
                          |GPIO_PIN_10|GPIO_PIN_11|GPIO_PIN_12;
  GPIO_InitStruct.Mode = GPIO_MODE_ANALOG;
  GPIO_InitStruct.Pull = GPIO_NOPULL;
  HAL_GPIO_Init(GPIOC, &GPIO_InitStruct);

  /*Configure GPIO pins : PF2 PF8 PF11 */
  GPIO_InitStruct.Pin = GPIO_PIN_2|GPIO_PIN_8|GPIO_PIN_11;
  GPIO_InitStruct.Mode = GPIO_MODE_ANALOG;
  GPIO_InitStruct.Pull = GPIO_NOPULL;
  HAL_GPIO_Init(GPIOF, &GPIO_InitStruct);

  /*Configure GPIO pins : MTR_EN_Pin Buzzer_Pin */
  GPIO_InitStruct.Pin = MTR_EN_Pin|Buzzer_Pin;
  GPIO_InitStruct.Mode = GPIO_MODE_OUTPUT_PP;
  GPIO_InitStruct.Pull = GPIO_NOPULL;
  GPIO_InitStruct.Speed = GPIO_SPEED_FREQ_LOW;
  HAL_GPIO_Init(GPIOF, &GPIO_InitStruct);

  /*Configure GPIO pins : PA1 PA2 PA4 PA5
                           PA6 PA8 PA9 PA10
                           PA11 PA12 PA15 */
  GPIO_InitStruct.Pin = GPIO_PIN_1|GPIO_PIN_2|GPIO_PIN_4|GPIO_PIN_5
                          |GPIO_PIN_6|GPIO_PIN_8|GPIO_PIN_9|GPIO_PIN_10
                          |GPIO_PIN_11|GPIO_PIN_12|GPIO_PIN_15;
  GPIO_InitStruct.Mode = GPIO_MODE_ANALOG;
  GPIO_InitStruct.Pull = GPIO_NOPULL;
  HAL_GPIO_Init(GPIOA, &GPIO_InitStruct);

  /*Configure GPIO pin : Firmware_Ok_Pin */
  GPIO_InitStruct.Pin = Firmware_Ok_Pin;
  GPIO_InitStruct.Mode = GPIO_MODE_OUTPUT_PP;
  GPIO_InitStruct.Pull = GPIO_NOPULL;
  GPIO_InitStruct.Speed = GPIO_SPEED_FREQ_LOW;
  HAL_GPIO_Init(Firmware_Ok_GPIO_Port, &GPIO_InitStruct);

  /*Configure GPIO pin : TSAL_HV_SIG_Pin */
  GPIO_InitStruct.Pin = TSAL_HV_SIG_Pin;
  GPIO_InitStruct.Mode = GPIO_MODE_INPUT;
  GPIO_InitStruct.Pull = GPIO_NOPULL;
  HAL_GPIO_Init(TSAL_HV_SIG_GPIO_Port, &GPIO_InitStruct);

  /*Configure GPIO pins : PB0 PB10 PB11 PB12
                           PB13 PB14 PB15 PB4
                           PB5 PB6 PB7 PB9 */
  GPIO_InitStruct.Pin = GPIO_PIN_0|GPIO_PIN_10|GPIO_PIN_11|GPIO_PIN_12
                          |GPIO_PIN_13|GPIO_PIN_14|GPIO_PIN_15|GPIO_PIN_4
                          |GPIO_PIN_5|GPIO_PIN_6|GPIO_PIN_7|GPIO_PIN_9;
  GPIO_InitStruct.Mode = GPIO_MODE_ANALOG;
  GPIO_InitStruct.Pull = GPIO_NOPULL;
  HAL_GPIO_Init(GPIOB, &GPIO_InitStruct);

  /*Configure GPIO pin : MTR_Fault_Pin */
  GPIO_InitStruct.Pin = MTR_Fault_Pin;
  GPIO_InitStruct.Mode = GPIO_MODE_INPUT;
  GPIO_InitStruct.Pull = GPIO_NOPULL;
  HAL_GPIO_Init(MTR_Fault_GPIO_Port, &GPIO_InitStruct);

  /*Configure GPIO pins : MTR_Ok_Pin IMD_Fail_Pin BMS_Fail_Pin */
  GPIO_InitStruct.Pin = MTR_Ok_Pin|IMD_Fail_Pin|BMS_Fail_Pin;
  GPIO_InitStruct.Mode = GPIO_MODE_INPUT;
  GPIO_InitStruct.Pull = GPIO_NOPULL;
  HAL_GPIO_Init(GPIOF, &GPIO_InitStruct);

  /*Configure GPIO pins : PG0 PG1 PG2 PG3
                           PG4 PG5 PG6 PG7
                           PG9 PG10 PG11 PG15 */
  GPIO_InitStruct.Pin = GPIO_PIN_0|GPIO_PIN_1|GPIO_PIN_2|GPIO_PIN_3
                          |GPIO_PIN_4|GPIO_PIN_5|GPIO_PIN_6|GPIO_PIN_7
                          |GPIO_PIN_9|GPIO_PIN_10|GPIO_PIN_11|GPIO_PIN_15;
  GPIO_InitStruct.Mode = GPIO_MODE_ANALOG;
  GPIO_InitStruct.Pull = GPIO_NOPULL;
  HAL_GPIO_Init(GPIOG, &GPIO_InitStruct);

  /*Configure GPIO pin : BSPD_Fail_Pin */
  GPIO_InitStruct.Pin = BSPD_Fail_Pin;
  GPIO_InitStruct.Mode = GPIO_MODE_INPUT;
  GPIO_InitStruct.Pull = GPIO_NOPULL;
  HAL_GPIO_Init(BSPD_Fail_GPIO_Port, &GPIO_InitStruct);

  /*Configure GPIO pins : PD10 PD11 PD12 PD13
                           PD15 PD2 PD3 PD4
                           PD5 PD6 PD7 */
  GPIO_InitStruct.Pin = GPIO_PIN_10|GPIO_PIN_11|GPIO_PIN_12|GPIO_PIN_13
                          |GPIO_PIN_15|GPIO_PIN_2|GPIO_PIN_3|GPIO_PIN_4
                          |GPIO_PIN_5|GPIO_PIN_6|GPIO_PIN_7;
  GPIO_InitStruct.Mode = GPIO_MODE_ANALOG;
  GPIO_InitStruct.Pull = GPIO_NOPULL;
  HAL_GPIO_Init(GPIOD, &GPIO_InitStruct);

  /*Configure GPIO pin : Brake_Light_Pin */
  GPIO_InitStruct.Pin = Brake_Light_Pin;
  GPIO_InitStruct.Mode = GPIO_MODE_OUTPUT_PP;
  GPIO_InitStruct.Pull = GPIO_NOPULL;
  GPIO_InitStruct.Speed = GPIO_SPEED_FREQ_LOW;
  HAL_GPIO_Init(Brake_Light_GPIO_Port, &GPIO_InitStruct);

  /*Configure GPIO pin : SPI6_NSS_Pin */
  GPIO_InitStruct.Pin = SPI6_NSS_Pin;
  GPIO_InitStruct.Mode = GPIO_MODE_OUTPUT_PP;
  GPIO_InitStruct.Pull = GPIO_NOPULL;
  GPIO_InitStruct.Speed = GPIO_SPEED_FREQ_LOW;
  HAL_GPIO_Init(SPI6_NSS_GPIO_Port, &GPIO_InitStruct);

}

__weak void dev_task_fn(void *argument)
{
  for(;;)
  {
    osDelay(1);
  }
}

void HAL_TIM_PeriodElapsedCallback(TIM_HandleTypeDef *htim)
{
  if (htim->Instance == TIM7) {
    HAL_IncTick();
  }
}

void Error_Handler(void)
{
  __disable_irq();
  while (1)
  {
  }
}
